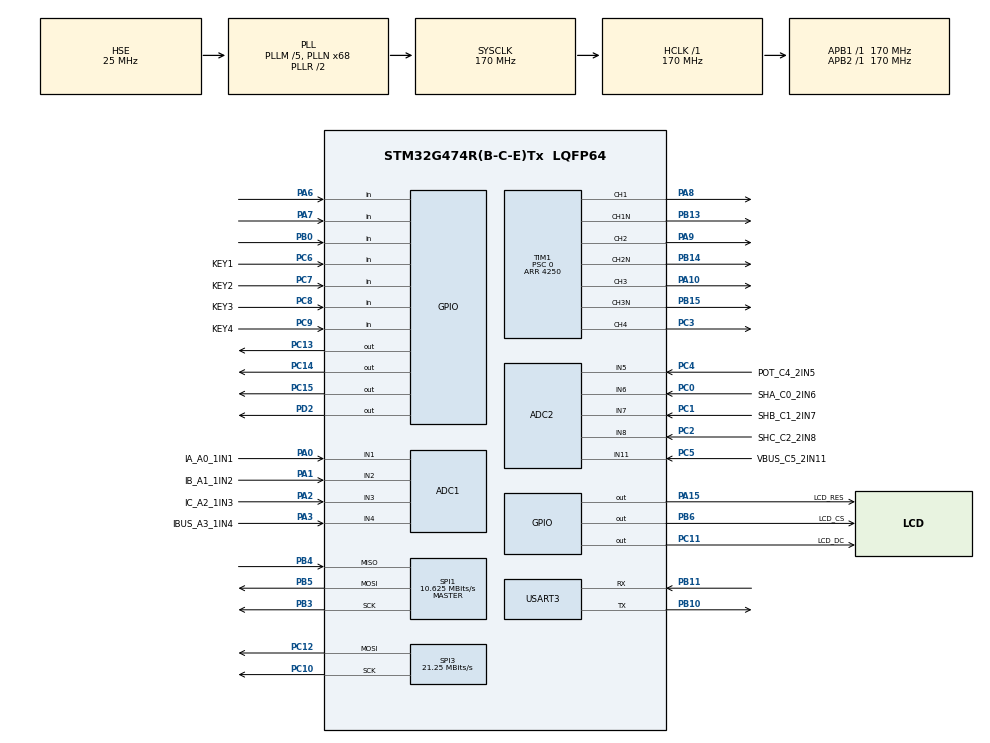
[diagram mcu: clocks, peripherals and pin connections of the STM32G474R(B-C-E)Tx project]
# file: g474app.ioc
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ADC1.ContinuousConvMode=DISABLE
ADC1.EnableInjectedConversion=ENABLE
ADC1.EnableRegularConversion=DISABLE
ADC1.ExternalTrigInjecConv=ADC_EXTERNALTRIGINJEC_T6_TRGO
ADC1.InjNumberOfConversion=4
ADC1.InjectedChannel-10\#ChannelInjectedConversion=ADC_CHANNEL_4
ADC1.InjectedChannel-7\#ChannelInjectedConversion=ADC_CHANNEL_1
ADC1.InjectedChannel-8\#ChannelInjectedConversion=ADC_CHANNEL_2
ADC1.InjectedChannel-9\#ChannelInjectedConversion=ADC_CHANNEL_3
ADC1.InjectedOffsetNumber-10\#ChannelInjectedConversion=ADC_OFFSET_NONE
ADC1.InjectedOffsetNumber-7\#ChannelInjectedConversion=ADC_OFFSET_NONE
ADC1.InjectedOffsetNumber-8\#ChannelInjectedConversion=ADC_OFFSET_NONE
ADC1.InjectedOffsetNumber-9\#ChannelInjectedConversion=ADC_OFFSET_NONE
ADC1.InjectedRank-10\#ChannelInjectedConversion=4
ADC1.InjectedRank-7\#ChannelInjectedConversion=1
ADC1.InjectedRank-8\#ChannelInjectedConversion=2
ADC1.InjectedRank-9\#ChannelInjectedConversion=3
ADC1.InjectedSamplingTime-10\#ChannelInjectedConversion=ADC_SAMPLETIME_2CYCLES_5
ADC1.InjectedSamplingTime-7\#ChannelInjectedConversion=ADC_SAMPLETIME_2CYCLES_5
ADC1.InjectedSamplingTime-8\#ChannelInjectedConversion=ADC_SAMPLETIME_2CYCLES_5
ADC1.InjectedSamplingTime-9\#ChannelInjectedConversion=ADC_SAMPLETIME_2CYCLES_5
ADC1.Rank1_Channel=ADC_CHANNEL_1
ADC1.Rank2_Channel=ADC_CHANNEL_2
ADC1.Rank3_Channel=ADC_CHANNEL_3
ADC1.Rank4_Channel=ADC_CHANNEL_4
ADC1.master=1
ADC2.Channel-0\#ChannelRegularConversion=ADC_CHANNEL_5
ADC2.ContinuousConvMode=DISABLE
ADC2.DiscontinuousConvMode=DISABLE
ADC2.NbrOfConversion=1
ADC2.NbrOfConversionFlag=1
ADC2.OffsetNumber-0\#ChannelRegularConversion=ADC_OFFSET_NONE
ADC2.Rank-0\#ChannelRegularConversion=1
ADC2.SamplingTime-0\#ChannelRegularConversion=ADC_SAMPLETIME_2CYCLES_5
Dma.Request0=SPI3_TX
Dma.SPI3_TX.0.Direction=DMA_MEMORY_TO_PERIPH
Dma.SPI3_TX.0.EventEnable=DISABLE
Dma.SPI3_TX.0.Instance=DMA1_Channel1
Dma.SPI3_TX.0.MemDataAlignment=DMA_MDATAALIGN_HALFWORD
Dma.SPI3_TX.0.MemInc=DMA_MINC_ENABLE
Dma.SPI3_TX.0.Mode=DMA_NORMAL
Dma.SPI3_TX.0.PeriphDataAlignment=DMA_PDATAALIGN_HALFWORD
Dma.SPI3_TX.0.PeriphInc=DMA_PINC_DISABLE
Dma.SPI3_TX.0.Polarity=HAL_DMAMUX_REQ_GEN_RISING
Dma.SPI3_TX.0.Priority=DMA_PRIORITY_MEDIUM
Dma.SPI3_TX.0.RequestNumber=1
Dma.SPI3_TX.0.SignalID=NONE
Dma.SPI3_TX.0.SyncEnable=DISABLE
Dma.SPI3_TX.0.SyncPolarity=HAL_DMAMUX_SYNC_NO_EVENT
Dma.SPI3_TX.0.SyncRequestNumber=1
Dma.SPI3_TX.0.SyncSignalID=NONE
Mcu.Family=STM32G4
Mcu.Name=STM32G474R(B-C-E)Tx
Mcu.Package=LQFP64
NVIC.ADC1_2_IRQn=true\:0\:0\:false\:false\:true\:true\:true\:true
NVIC.DMA1_Channel1_IRQn=true\:0\:0\:false\:false\:true\:false\:true\:true
NVIC.PriorityGroup=NVIC_PRIORITYGROUP_4
NVIC.TIM1_UP_TIM16_IRQn=true\:0\:0\:false\:false\:true\:true\:true\:true
NVIC.TIM6_DAC_IRQn=true\:0\:0\:false\:false\:true\:true\:true\:true
NVIC.TIM7_DAC_IRQn=true\:0\:0\:false\:false\:true\:true\:true\:true
NVIC.USART3_IRQn=true\:0\:0\:false\:false\:true\:true\:true\:true
PA0.GPIO_Label=IA_A0_1IN1
PA0.Mode=IN1-Single-Ended
PA0.Signal=ADC1_IN1
PA1.GPIO_Label=IB_A1_1IN2
PA1.Mode=IN2-Single-Ended
PA1.Signal=ADC1_IN2
PA10.Signal=S_TIM1_CH3
PA13.Mode=Serial_Wire
PA13.Signal=SYS_JTMS-SWDIO
PA14.Mode=Serial_Wire
PA14.Signal=SYS_JTCK-SWCLK
PA15.GPIO_Label=LCD_RES
PA15.Signal=GPIO_Output
PA2.GPIO_Label=IC_A2_1IN3
PA2.Mode=IN3-Single-Ended
PA2.Signal=ADC1_IN3
PA3.GPIO_Label=IBUS_A3_1IN4
PA3.Mode=IN4-Single-Ended
PA3.Signal=ADC1_IN4
PA6.GPIO_PuPd=GPIO_PULLUP
PA6.Signal=GPIO_Input
PA7.GPIO_PuPd=GPIO_PULLUP
PA7.Signal=GPIO_Input
PA8.Signal=S_TIM1_CH1
PA9.Signal=S_TIM1_CH2
PB0.GPIO_PuPd=GPIO_PULLUP
PB0.Signal=GPIO_Input
PB10.Mode=Asynchronous
PB10.Signal=USART3_TX
PB11.Mode=Asynchronous
PB11.Signal=USART3_RX
PB13.Mode=PWM Generation1 CH1 CH1N
PB13.Signal=TIM1_CH1N
PB14.Mode=PWM Generation2 CH2 CH2N
PB14.Signal=TIM1_CH2N
PB15.Mode=PWM Generation3 CH3 CH3N
PB15.Signal=TIM1_CH3N
PB3.Mode=Full_Duplex_Master
PB3.Signal=SPI1_SCK
PB4.Mode=Full_Duplex_Master
PB4.Signal=SPI1_MISO
PB5.GPIO_PuPd=GPIO_PULLUP
PB5.Mode=Full_Duplex_Master
PB5.Signal=SPI1_MOSI
PB6.GPIO_Label=LCD_CS
PB6.Signal=GPIO_Output
PC0.GPIO_Label=SHA_C0_2IN6
PC0.Mode=IN6-Single-Ended
PC0.Signal=ADC2_IN6
PC1.GPIO_Label=SHB_C1_2IN7
PC1.Mode=IN7-Single-Ended
PC1.Signal=ADC2_IN7
PC10.Mode=TX_Only_Simplex_Unidirect_Master
PC10.Signal=SPI3_SCK
PC11.GPIO_Label=LCD_DC
PC11.Signal=GPIO_Output
PC12.Mode=TX_Only_Simplex_Unidirect_Master
PC12.Signal=SPI3_MOSI
PC13.Signal=GPIO_Output
PC14-OSC32_IN.Signal=GPIO_Output
PC15-OSC32_OUT.Signal=GPIO_Output
PC2.GPIO_Label=SHC_C2_2IN8
PC2.Mode=IN8-Single-Ended
PC2.Signal=ADC2_IN8
PC3.Signal=S_TIM1_CH4
PC4.GPIO_Label=POT_C4_2IN5
PC4.Mode=IN5-Single-Ended
PC4.Signal=ADC2_IN5
PC5.GPIO_Label=VBUS_C5_2IN11
PC5.Mode=IN11-Single-Ended
PC5.Signal=ADC2_IN11
PC6.GPIO_Label=KEY1
PC6.Signal=GPIO_Input
PC7.GPIO_Label=KEY2
PC7.Signal=GPIO_Input
PC8.GPIO_Label=KEY3
PC8.Signal=GPIO_Input
PC9.GPIO_Label=KEY4
PC9.Signal=GPIO_Input
PD2.Signal=GPIO_Output
PF0-OSC_IN.Mode=HSE-External-Oscillator
PF0-OSC_IN.Signal=RCC_OSC_IN
PF1-OSC_OUT.Mode=HSE-External-Oscillator
PF1-OSC_OUT.Signal=RCC_OSC_OUT
ProjectManager.HeapSize=0x200
ProjectManager.StackSize=0x400
ProjectManager.TargetToolchain=MDK-ARM V5.27
RCC.ADC12Freq_Value=170000000
RCC.ADC345Freq_Value=170000000
RCC.AHBFreq_Value=170000000
RCC.APB1Freq_Value=170000000
RCC.APB1TimFreq_Value=170000000
RCC.APB2Freq_Value=170000000
RCC.APB2TimFreq_Value=170000000
RCC.CortexFreq_Value=170000000
RCC.EXTERNAL_CLOCK_VALUE=12288000
RCC.HCLKFreq_Value=170000000
RCC.HSE_VALUE=25000000
RCC.HSI48_VALUE=48000000
RCC.HSI_VALUE=16000000
RCC.LSE_VALUE=32768
RCC.PLLM=RCC_PLLM_DIV5
RCC.PLLN=68
RCC.PLLSourceVirtual=RCC_PLLSOURCE_HSE
RCC.SYSCLKFreq_VALUE=170000000
RCC.SYSCLKSource=RCC_SYSCLKSOURCE_PLLCLK
RCC.USBFreq_Value=170000000
RCC.VCOOutputFreq_Value=340000000
SH.S_TIM1_CH1.0=TIM1_CH1,PWM Generation1 CH1 CH1N
SH.S_TIM1_CH2.0=TIM1_CH2,PWM Generation2 CH2 CH2N
SH.S_TIM1_CH3.0=TIM1_CH3,PWM Generation3 CH3 CH3N
SH.S_TIM1_CH4.0=TIM1_CH4,PWM Generation4 CH4
SPI1.BaudRatePrescaler=SPI_BAUDRATEPRESCALER_16
SPI1.CLKPhase=SPI_PHASE_2EDGE
SPI1.CLKPolarity=SPI_POLARITY_HIGH
SPI1.CalculateBaudRate=10.625 MBits/s
SPI1.DataSize=SPI_DATASIZE_16BIT
SPI1.Direction=SPI_DIRECTION_2LINES
SPI1.FirstBit=SPI_FIRSTBIT_MSB
SPI1.Mode=SPI_MODE_MASTER
SPI1.VirtualType=VM_MASTER
SPI3.BaudRatePrescaler=SPI_BAUDRATEPRESCALER_8
SPI3.CLKPhase=SPI_PHASE_1EDGE
SPI3.CLKPolarity=SPI_POLARITY_HIGH
SPI3.CalculateBaudRate=21.25 MBits/s
SPI3.DataSize=SPI_DATASIZE_8BIT
SPI3.Direction=SPI_DIRECTION_2LINES
SPI3.Mode=SPI_MODE_MASTER
SPI3.VirtualType=VM_MASTER
TIM1.AutoReloadPreload=TIM_AUTORELOAD_PRELOAD_ENABLE
TIM1.BreakState=TIM_BREAK_DISABLE
TIM1.Channel-PWM\ Generation1\ CH1\ CH1N=TIM_CHANNEL_1
TIM1.Channel-PWM\ Generation2\ CH2\ CH2N=TIM_CHANNEL_2
TIM1.Channel-PWM\ Generation3\ CH3\ CH3N=TIM_CHANNEL_3
TIM1.Channel-PWM\ Generation4\ CH4=TIM_CHANNEL_4
TIM1.CounterMode=TIM_COUNTERMODE_CENTERALIGNED1
TIM1.PeriodNoDither=4250
TIM1.Prescaler=0
TIM1.TIM_MasterOutputTrigger=TIM_TRGO_OC4REF
TIM6.AutoReloadPreload=TIM_AUTORELOAD_PRELOAD_ENABLE
TIM6.PeriodNoDither=16999
TIM6.TIM_MasterOutputTrigger=TIM_TRGO_UPDATE
TIM7.AutoReloadPreload=TIM_AUTORELOAD_PRELOAD_ENABLE
TIM7.PeriodNoDither=999
TIM7.Prescaler=169
USART3.VirtualMode-Asynchronous=VM_ASYNC
VP_SYS_VS_DBSignals.Mode=DisableDeadBatterySignals
VP_TIM6_VS_ClockSourceINT.Mode=Enable_Timer
VP_TIM7_VS_ClockSourceINT.Mode=Enable_Timer
board=custom

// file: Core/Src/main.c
/* USER CODE BEGIN Header */
/**
 ******************************************************************************
 * @file           : main.c
 * @brief          : Main program body
 ******************************************************************************
 * @attention
 *
 * Copyright (c) 2025 STMicroelectronics.
 * All rights reserved.
 *
 * This software is licensed under terms that can be found in the LICENSE file
 * in the root directory of this software component.
 * If no LICENSE file comes with this software, it is provided AS-IS.
 *
 ******************************************************************************
 */
/* USER CODE END Header */
#include "main.h"
#include "adc.h"
#include "dma.h"
#include "spi.h"
#include "tim.h"
#include "usart.h"
#include "gpio.h"

/* USER CODE BEGIN Includes */
#include "Task.h"
// #include "st7789v/st7789v.h"
#include "mt6816ct/mt6816.h"
/***************************************************************************************************
 * 功能描述:
 * 输入参数:
 * 输出参数:
 * 返 回 值:
 * 其它说明:
 * param {int} ch
 * param {FILE} *f
 ***************************************************************************************************/
int fputc(int ch, FILE *f)
{
    uint8_t temp[1] = {ch};
    HAL_UART_Transmit(&huart3, temp, 1, 0xffff);
    // HAL_UART_Transmit_IT(&huart3, temp, 1);
    return ch;
}
/***************************************************************************************************
 * 功能描述:
 * 输入参数:
 * 输出参数:
 * 返 回 值:
 * 其它说明:
 * param {FILE} *f
 ***************************************************************************************************/
int fgetc(FILE *f)
{
    uint8_t ch = 0;
    HAL_UART_Receive(&huart3, &ch, 1, 0xffff);
    return ch;
}
/***************************************************************************************************
 * 功能描述:
 * 输入参数:
 * 输出参数:
 * 返 回 值:
 * 其它说明:
 * param {uint32_t} app_address
 ***************************************************************************************************/
void JumpToApp(uint32_t app_address)
{
    typedef void (*pFunction)(void);
    pFunction AppStart;

    __disable_irq();

    HAL_RCC_DeInit();
    SysTick->CTRL = 0;
    SysTick->LOAD = 0;
    SysTick->VAL = 0;

    uint32_t *app_sp = (uint32_t *)app_address;
    __set_MSP(*app_sp);
    SCB->VTOR = app_address;
    uint32_t *app_reset = (uint32_t *)(app_address + 4);
    AppStart = (pFunction)*app_reset;

    AppStart();

    while (1)
        ;
}
/* USER CODE END Includes */

void SystemClock_Config(void);

/* USER CODE BEGIN 0 */
static int PT_TASK_st7789()
{
  static uint8_t u8temp = 0;
    PT_BEGIN()
    {
        st7789v_init();
    }
    while (1)
    {
        PT_WAIT_UNTIL(100/TIME_ms); // 每100ms执行一次
        // u8temp = HAL_GPIO_ReadPin(GPIOA, GPIO_PIN_6) | HAL_GPIO_ReadPin(GPIOA, GPIO_PIN_7)<<1 | HAL_GPIO_ReadPin(GPIOB, GPIO_PIN_0)<<2;
        LCD_ShowFloatNum1(0, 0, (ADC_Read(hadc2,ADC_CHANNEL_5) / 4096.0) * 3.3, 4, WHITE, BLACK, 24);
        // LCD_ShowIntNum(0, 24, HAL_GPIO_ReadPin(GPIOA, GPIO_PIN_6), 1, WHITE, BLACK, 24);
        // LCD_ShowIntNum(0, 48, HAL_GPIO_ReadPin(GPIOA, GPIO_PIN_7), 1, WHITE, BLACK, 24);
        // LCD_ShowIntNum(0, 72, HAL_GPIO_ReadPin(GPIOB, GPIO_PIN_0), 1, WHITE, BLACK, 24);
    }
    PT_END();
}
/* USER CODE END 0 */

int main(void)
{

  /* MCU Configuration--------------------------------------------------------*/

  /* Reset of all peripherals, Initializes the Flash interface and the Systick. */
  HAL_Init();

  /* USER CODE BEGIN Init */
    __enable_irq(); // Enable global interrupts
  /* USER CODE END Init */

  /* Configure the system clock */
  SystemClock_Config();

  /* Initialize all configured peripherals */
  MX_GPIO_Init();
  MX_DMA_Init();
  MX_SPI3_Init();
  MX_USART3_UART_Init();
  MX_ADC2_Init();
  MX_ADC1_Init();
  MX_TIM1_Init();
  MX_TIM6_Init();
  MX_TIM7_Init();
  MX_SPI1_Init();
  /* USER CODE BEGIN 2 */

    // HAL_ADCEx_Calibration_Start(&hadc1,ADC_SINGLE_ENDED);
    // HAL_ADCEx_Calibration_SetValue(&hadc1,ADC_SINGLE_ENDED,HAL_ADCEx_Calibration_GetValue(&hadc1,ADC_SINGLE_ENDED));

    // soft_timer_repeat_init(SOFT_TIMER_0, 100);
    // soft_timer_repeat_init(SOFT_TIMER_1, 1);
    // soft_timer_repeat_init(SOFT_TIMER_2, 300);

    // HAL_TIM_Base_Start(&htim1);
    HAL_TIM_PWM_Start(&htim1, TIM_CHANNEL_1);
    HAL_TIMEx_PWMN_Start(&htim1, TIM_CHANNEL_1);
    HAL_TIM_PWM_Start(&htim1, TIM_CHANNEL_2);
    HAL_TIMEx_PWMN_Start(&htim1, TIM_CHANNEL_2);
    HAL_TIM_PWM_Start(&htim1, TIM_CHANNEL_3);
    HAL_TIMEx_PWMN_Start(&htim1, TIM_CHANNEL_3);

    HAL_TIM_Base_Start_IT(&htim1);
    HAL_TIM_Base_Start_IT(&htim6); /* 此  100us 定时器用于  */
    HAL_TIM_Base_Start_IT(&htim7); /* 此  10ms  定时器用于  PT TASK */

    // HAL_ADCEx_InjectedStart_IT(&hadc1);

    // __HAL_TIM_SetCompare(&htim1, TIM_CHANNEL_1, 0.5*4250);
    // __HAL_TIM_SetCompare(&htim1, TIM_CHANNEL_2, 0.5*4250);
    // __HAL_TIM_SetCompare(&htim1, TIM_CHANNEL_3, 0.5*4250);
  /* USER CODE END 2 */

  /* Infinite loop */
  /* USER CODE BEGIN WHILE */
    printf("In APP !\n");
    uint16_t adc1_value[ADC1_NUM] = {0};
    uint16_t adc2_value[ADC2_NUM] = {0};
    //  ADC_ChannelConfTypeDef sConfig = {0};
    while (1)
    {
        PT_TASK_REG(0, PT_TASK_st7789);
        PT_TASK_REG(1, PT_TASK_FOC);

        PT_TASK_REG(2, PT_TASK_Test);

        // PT_TASK_REG(3, PT_TASK_mt6816);

        // printf("In APP 22!\n");
        HAL_Delay(100);
        // LCD_ConvertAndSendDMA();
        // if (soft_timer_is_timeout(SOFT_TIMER_0))
        // {
        // 	HAL_GPIO_TogglePin(GPIOC,GPIO_PIN_13);
        //   LCD_ShowFloatNum1(0, 0, (ADC_Read(hadc1,ADC_CHANNEL_4) / 4096.0) * 3.3, 4, WHITE, BLACK, 24);
        //   // LCD_ConvertAndSendDMA();
        // }
        // TaskTest();
        // if (soft_timer_is_timeout(SOFT_TIMER_1))
        // {
        // FocLoop();
        // }
        // if (soft_timer_is_timeout(SOFT_TIMER_1))
        // {
        //   // LCD_Clear(WHITE);
        // }

        // if (soft_timer_is_timeout(SOFT_TIMER_2))
        // {
        //   // LCD_Clear(YELLOW);
        // }
        // printf("%d,%d,%d\n",mcu_ccrx[0],mcu_ccrx[1],mcu_ccrx[2]);
        // printf("%d,%d,%d,%d,%d,%d,%d,%f,%d\n",adc1_value[0],adc1_value[1],adc1_value[2],adc1_value[3],adc1_value[4],adc1_value[5],adc1_value[6],(adc2_value[0]/4096.0)*3.3,adc2_value[1]);
      //printf("%d,%d,%d,%d\n",ADC_Read(hadc1, ADC_CHANNEL_1),ADC_Read(hadc1, ADC_CHANNEL_2),ADC_Read(hadc1, ADC_CHANNEL_3),ADC_Read(hadc1, ADC_CHANNEL_4));

        // LCD_ShowIntNum(0, 24, HAL_GPIO_ReadPin(GPIOA, GPIO_PIN_6), 1, WHITE, BLACK, 24);
        // LCD_ShowIntNum(0, 48, HAL_GPIO_ReadPin(GPIOA, GPIO_PIN_7), 1, WHITE, BLACK, 24);
        // LCD_ShowIntNum(0, 72, HAL_GPIO_ReadPin(GPIOB, GPIO_PIN_0), 1, WHITE, BLACK, 24);
        // printf("%d,%d,%d\n",HAL_GPIO_ReadPin(GPIOA, GPIO_PIN_6),HAL_GPIO_ReadPin(GPIOB, GPIO_PIN_0),HAL_GPIO_ReadPin(GPIOA, GPIO_PIN_7));

        // LCD_ShowIntNum(0, 0, adc1_value[0], 4, WHITE, BLACK, 24);
        // LCD_ShowIntNum(0, 24, adc1_value[1], 4, WHITE, BLACK, 24);
        // LCD_ShowIntNum(0, 48, adc1_value[2], 4, WHITE, BLACK, 24);
        // LCD_ShowIntNum(0, 72, adc1_value[3], 4, WHITE, BLACK, 24);
        // LCD_ShowIntNum(0, 96, adc1_value[4], 4, WHITE, BLACK, 24);
        // LCD_ShowIntNum(0, 120, adc1_value[5], 4, WHITE, BLACK, 24);
        // LCD_ShowIntNum(0, 144, adc1_value[6], 4, WHITE, BLACK, 24);
        // LCD_ShowChinese32x32(0, 0, "", WHITE, BLACK, 32, 0);

        // printf("%d,%d,%d\n",ADC_Read(hadc1,ADC_CHANNEL_1),ADC_Read(hadc1,ADC_CHANNEL_2),ADC_Read(hadc1,ADC_CHANNEL_3));

        // LCD_ShowFloatNum1(0, 0, (ADC_Read(hadc1,ADC_CHANNEL_4) / 4096.0) * 3.3, 4, WHITE, BLACK, 24);
        // LCD_ShowIntNum(120, 0, adc2_value[1], 4, WHITE, BLACK, 24);
        // LCD_ShowChineseTEST(0, 0, "FOC", WHITE, BLACK, 80,135, 0);
        // LCD_ShowIntNum(0, 192, adc2_value[1], 4, WHITE, BLACK, 24);
        //    JumpToApp(0x08000000);
    /* USER CODE END WHILE */

    }
}

void SystemClock_Config(void)
{
  RCC_OscInitTypeDef RCC_OscInitStruct = {0};
  RCC_ClkInitTypeDef RCC_ClkInitStruct = {0};

  /** Configure the main internal regulator output voltage
  */
  HAL_PWREx_ControlVoltageScaling(PWR_REGULATOR_VOLTAGE_SCALE1_BOOST);

  /** Initializes the RCC Oscillators according to the specified parameters
  * in the RCC_OscInitTypeDef structure.
  */
  RCC_OscInitStruct.OscillatorType = RCC_OSCILLATORTYPE_HSE;
  RCC_OscInitStruct.HSEState = RCC_HSE_ON;
  RCC_OscInitStruct.PLL.PLLState = RCC_PLL_ON;
  RCC_OscInitStruct.PLL.PLLSource = RCC_PLLSOURCE_HSE;
  RCC_OscInitStruct.PLL.PLLM = RCC_PLLM_DIV5;
  RCC_OscInitStruct.PLL.PLLN = 68;
  RCC_OscInitStruct.PLL.PLLP = RCC_PLLP_DIV2;
  RCC_OscInitStruct.PLL.PLLQ = RCC_PLLQ_DIV2;
  RCC_OscInitStruct.PLL.PLLR = RCC_PLLR_DIV2;
  if (HAL_RCC_OscConfig(&RCC_OscInitStruct) != HAL_OK)
  {
    Error_Handler();
  }

  /** Initializes the CPU, AHB and APB buses clocks
  */
  RCC_ClkInitStruct.ClockType = RCC_CLOCKTYPE_HCLK|RCC_CLOCKTYPE_SYSCLK
                              |RCC_CLOCKTYPE_PCLK1|RCC_CLOCKTYPE_PCLK2;
  RCC_ClkInitStruct.SYSCLKSource = RCC_SYSCLKSOURCE_PLLCLK;
  RCC_ClkInitStruct.AHBCLKDivider = RCC_SYSCLK_DIV1;
  RCC_ClkInitStruct.APB1CLKDivider = RCC_HCLK_DIV1;
  RCC_ClkInitStruct.APB2CLKDivider = RCC_HCLK_DIV1;

  if (HAL_RCC_ClockConfig(&RCC_ClkInitStruct, FLASH_LATENCY_4) != HAL_OK)
  {
    Error_Handler();
  }
}

/* USER CODE BEGIN 4 */

void HAL_TIM_PeriodElapsedCallback(TIM_HandleTypeDef *htim)
{
    if (htim->Instance == TIM6)
    {
        // 处理 TIM6 的触发事件

    }
    if (htim->Instance == TIM7)
    {
        // 处理 TIM7 的触发事件
        TASK_TICK_UPDATE();
    }
}
/* USER CODE END 4 */

void Error_Handler(void)
{
    __disable_irq();
    while (1)
    {
    }
}
